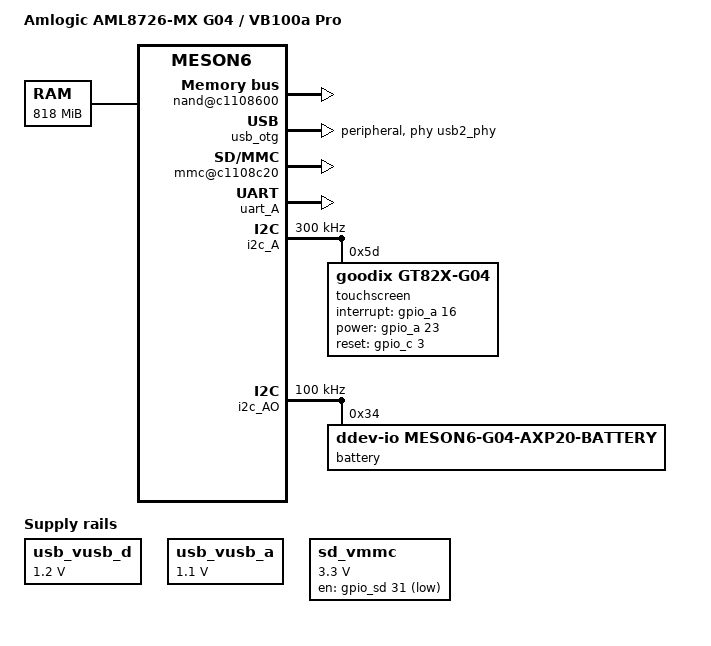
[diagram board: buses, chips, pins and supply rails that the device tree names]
/dts-v1/;

/include/ "meson6.dtsi"

/ {
	model = "Amlogic AML8726-MX G04 / VB100a Pro";
	compatible = "ddev-io,meson6-g04", "amlogic,meson6";

	cpus {
		enable-method = "ddev-io,meson6-g04-smp";
	};

	aliases {
		serial0 = &uart_A;
		display0 = &framebuffer0;
	};


	/* Supplies are already enabled by the boot loader; these fixed
	 * regulators give the generic DWC2 gadget driver its named rails. */
	usb_vusb_d: regulator-usb-d {
		compatible = "regulator-fixed";
		regulator-name = "vusb_d";
		regulator-min-microvolt = <1200000>;
		regulator-max-microvolt = <1200000>;
		regulator-always-on;
	};

	usb_vusb_a: regulator-usb-a {
		compatible = "regulator-fixed";
		regulator-name = "vusb_a";
		regulator-min-microvolt = <1100000>;
		regulator-max-microvolt = <1100000>;
		regulator-always-on;
	};

	sdio_core_clk: clock@c1104140 {
		compatible = "ddev-io,g04-sdio-gate";
		reg = <0xc1104140 0x4>;
		#clock-cells = <0>;
		clocks = <&clk81>;
	};

	sd_vmmc: regulator-sdcard {
		compatible = "regulator-fixed";
		regulator-name = "sdcard-vmmc";
		regulator-min-microvolt = <3300000>;
		regulator-max-microvolt = <3300000>;
		gpio = <&gpio_sd 31 0>;
		startup-delay-us = <200000>;
	};

	memory {
		device_type = "memory";
		/* Keep the vendor video window outside Linux RAM. */
		reg = <0x80000000 0x04000000>,
		      <0x90d00000 0x0f200000>,
		      <0xa0000000 0x20000000>;
	};

	chosen {
		#address-cells = <1>;
		#size-cells = <1>;
		ranges;

		stdout-path = &uart_A;
		bootargs = "console=ttyAML0,115200n8";

		/* U-Boot/vendor VPU keeps scanning this OSD1 buffer. */
		framebuffer0: framebuffer@84100000 {
			compatible = "simple-framebuffer";
			reg = <0x84100000 0x00800000>;
			width = <1280>;
			height = <800>;
			stride = <5120>;
			format = "a8b8g8r8";
		};
	};

	soc {
		usb2_phy: phy@c1108400 {
			compatible = "amlogic,meson6-usb2-phy";
			reg = <0xc1108400 0x40>,
			      <0xc1104408 0x4>,
			      <0xc1104144 0x4>,
			      <0xc1104148 0x4>;
			reg-names = "phy", "reset", "gclk1", "gclk2";
			#phy-cells = <0>;
		};

		nand@c1108600 {
			compatible = "amlogic,meson6-nand-g04";
			reg = <0xc1108600 0x30>;
			status = "okay";
		};

		usb_otg: usb@c9040000 {
			compatible = "amlogic,meson6-usb", "snps,dwc2";
			reg = <0xc9040000 0x40000>;
			/*
			 * INT_USB_A is level-high in the working Meson6 vendor kernel.
			 * GIC SPI 30 is Linux IRQ 62, which its GIC glue special-cases.
			 */
			interrupts = <0 30 4>;
			clocks = <&clk81>;
			clock-names = "otg";
			phys = <&usb2_phy>;
			phy-names = "usb2-phy";
			vusb_d-supply = <&usb_vusb_d>;
			vusb_a-supply = <&usb_vusb_a>;
			dr_mode = "peripheral";
			g-use-dma;
			status = "okay";
		};

		gpio_sd: gpio@c110806c {
			compatible = "amlogic,meson6-gpio";
			reg = <0xc110806c 0x4>, <0xc1108070 0x4>, <0xc1108074 0x4>;
			gpio-controller;
			#gpio-cells = <2>;
			ngpios = <32>;
		};

		mmc@c1108c20 {
			compatible = "amlogic,meson6-sdio", "amlogic,meson-mx-sdio";
			reg = <0xc1108c20 0x20>;
			interrupts = <0 28 1>;
			#address-cells = <1>;
			#size-cells = <0>;
			clocks = <&sdio_core_clk>, <&clk81>;
			clock-names = "core", "clkin";
			pinctrl-names = "default";
			pinctrl-0 = <&sdio_b_pins>;

			slot@1 {
				compatible = "mmc-slot";
				reg = <1>;
				bus-width = <4>;
				max-frequency = <25000000>;
				cd-gpios = <&gpio_sd 29 1>;
				vmmc-supply = <&sd_vmmc>;
			};
		};

		g04_ao_pinmux: pinmux@c8100014 {
			compatible = "pinctrl-single";
			reg = <0xc8100014 0x4>;
			pinctrl-single,register-width = <32>;
			pinctrl-single,function-mask = <1>;
			pinctrl-single,bit-per-mux;

			i2c_ao_pins: i2c-ao-pins {
				/* Vendor AO I2C master MUX[6:5], clear alternates. */
				pinctrl-single,bits = <0x0 0x00000060 0x01800066>;
			};
		};

		backlight@c1108654 {
			compatible = "ddev-io,meson6-g04-backlight";
			reg = <0xc1108654 0x8>;
			pinctrl-names = "default";
			pinctrl-0 = <&backlight_pwm_pins>;
		};

		g04_pinmux: pinmux@c11080b0 {
			compatible = "pinctrl-single";
			reg = <0xc11080b0 0x20>;
			pinctrl-single,register-width = <32>;
			pinctrl-single,function-mask = <1>;
			pinctrl-single,bit-per-mux;

			backlight_pwm_pins: backlight-pwm-pins {
				/* Firmware routes PWM_D to GPIOD_1, not LED_BL_PWM. */
				pinctrl-single,bits = <0x04 0 0x10000000>,
						      <0x08 0x00000008 0x00000008>;
			};

			sdio_b_pins: sdio-b-pins {
				/* Vendor SDIO port B uses CARD_0..5, MUX2[15:10]. */
				pinctrl-single,bits = <0x08 0x0000fc00 0x0000fc00>;
			};

			i2c_a_pins: i2c-a-pins {
				/* PERIPHS_PIN_MUX_5[27:26] selects I2C A. */
				pinctrl-single,bits = <0x14 0x0c000000 0x0c000000>;
			};

			gpio_a_touch_pins: gpio-a-touch-pins {
				/* GPIOA_16: MUX0[6], MUX7[4]; GPIOA_23: MUX0[6], MUX7[11]. */
				pinctrl-single,bits = <0x00 0x00000000 0x00000040>,
						      <0x1c 0x00000000 0x00000810>;
			};

			gpio_c_touch_pins: gpio-c-touch-pins {
				/* GPIOC_3: PERIPHS_PIN_MUX_0[13] and _1[8]. */
				pinctrl-single,bits = <0x00 0x00000000 0x00002000>,
						      <0x04 0x00000000 0x00000100>;
			};
		};

		gpio_a: gpio@c1108030 {
			compatible = "amlogic,meson6-gpio";
			reg = <0xc1108030 0x4>,
			      <0xc1108034 0x4>,
			      <0xc1108038 0x4>,
			      <0xc1109880 0x10>;
			gpio-controller;
			#gpio-cells = <2>;
			ngpios = <28>;
			pinctrl-names = "default";
			pinctrl-0 = <&gpio_a_touch_pins>;

			/* Route GPIOA_16 (vendor selector 170) through slot 0. */
			amlogic,irq-slot = <0>;
			amlogic,irq-selector = <170>;
			amlogic,irq-trigger = <3>;
			amlogic,irq-filter = <7>;
		};

		gpio_c: gpio@c1108048 {
			compatible = "amlogic,meson6-gpio";
			reg = <0xc1108048 0x4>,
			      <0xc110804c 0x4>,
			      <0xc1108050 0x4>;
			gpio-controller;
			#gpio-cells = <2>;
			ngpios = <15>;
			pinctrl-names = "default";
			pinctrl-0 = <&gpio_c_touch_pins>;
		};
	};
};

&uart_A {
	status = "okay";
};

&i2c_A {
	clock-frequency = <300000>;
	pinctrl-names = "default";
	pinctrl-0 = <&i2c_a_pins>;
	status = "okay";

	touchscreen@5d {
		compatible = "goodix,gt82x-g04";
		reg = <0x5d>;
		interrupt-parent = <&gic>;
		interrupts = <0 64 1>;
		interrupt-gpios = <&gpio_a 16 0>;
		power-gpios = <&gpio_a 23 0>;
		reset-gpios = <&gpio_c 3 0>;
		/* Same sensor-to-panel calibration as the working vendor kernel. */
		touchscreen-swapped-x-y;
		touchscreen-inverted-x;
		touchscreen-inverted-y;
	};
};

&i2c_AO {
	clock-frequency = <100000>;
	pinctrl-names = "default";
	pinctrl-0 = <&i2c_ao_pins>;
	status = "okay";

	battery@34 {
		compatible = "ddev-io,meson6-g04-axp20-battery";
		reg = <0x34>;
	};
};
